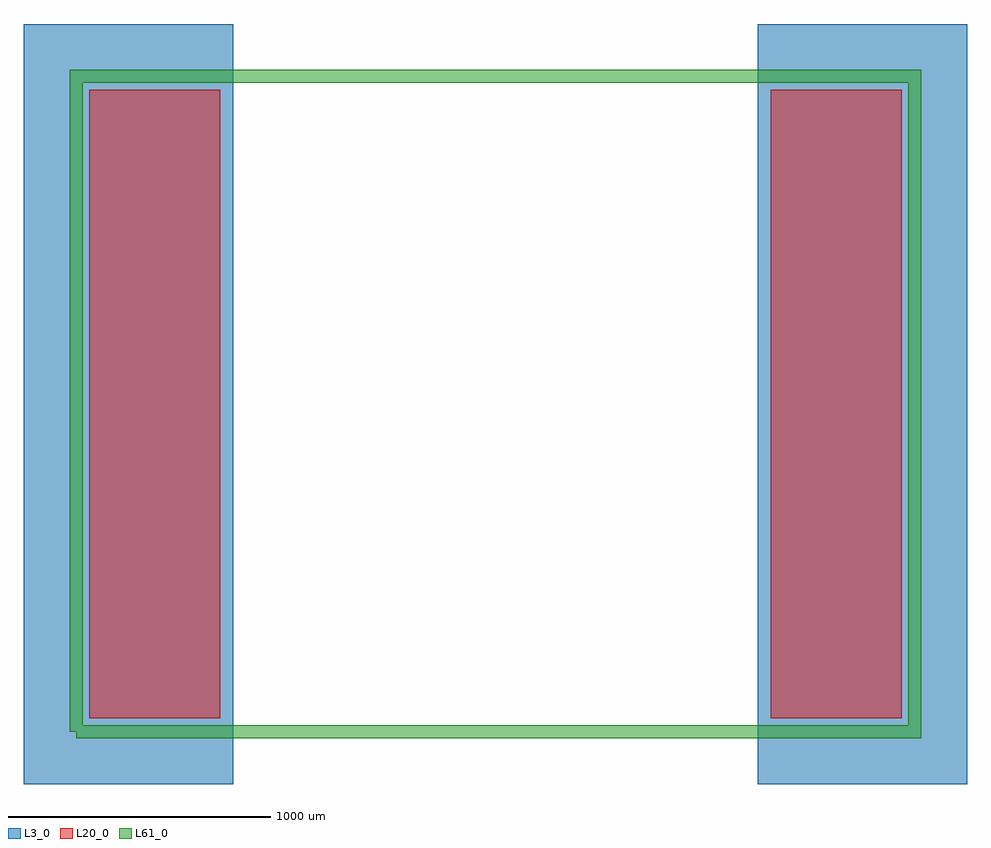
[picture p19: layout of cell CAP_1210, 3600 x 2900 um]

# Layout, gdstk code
import gdstk
lib = gdstk.Library(unit=1e-6, precision=1e-09)
def R(c, l, rs):  # rectangles x0, y0, x1, y1
    for r in rs: c.add(gdstk.rectangle(r[:2], r[2:], *l))
L3_0 = (3, 0)
L20_0 = (20, 0)
L61_0 = (61, 0)

cap_1210 = lib.new_cell('CAP_1210')
R(cap_1210, L3_0, [(-200,-200,600,2700), (2600,-200,3400,2700)])
R(cap_1210, L20_0, [(50,50,550,2450), (2650,50,3150,2450)])
cap_1210.add(gdstk.FlexPath([(0,0),(3200,0),(3200,2500),(0,2500),(0,0)], 50, ends="flush", simple_path=True, layer=61, datatype=0))  # L61_0

lib.write_gds('CAP_1210.gds')
